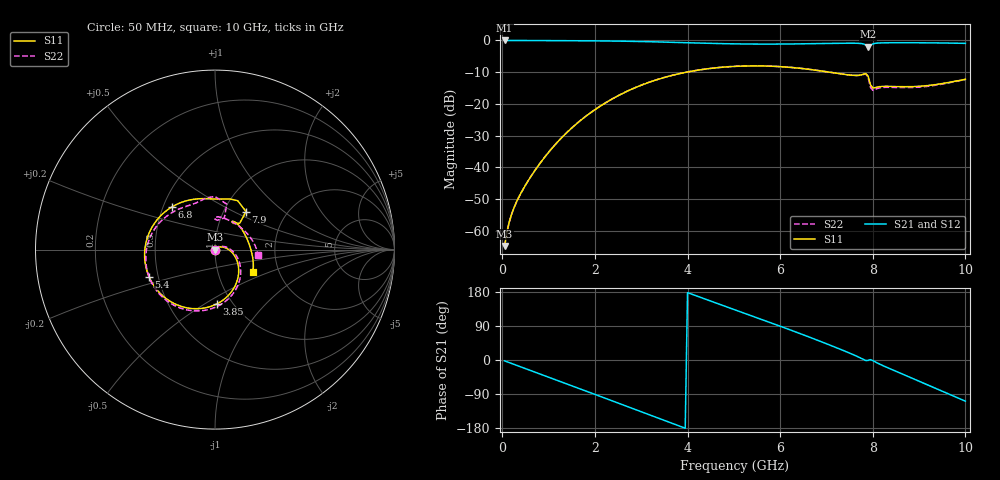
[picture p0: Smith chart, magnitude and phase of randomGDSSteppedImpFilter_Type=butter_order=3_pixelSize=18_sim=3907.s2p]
! freq	dB(S11)	phase(S11)	dB(S12)	phase(S12)
!  dB(S21)	phase(S21)	dB(S22)	phase(S22)
!S-par simulation data
#  GHz  S  DB  R 50
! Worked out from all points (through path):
!   200 points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, 50 MHz to 10 GHz, reference 50 ohm
!   highest |S21| = -0.01 dB at 50 MHz (marker M1); lowest = -1.9 dB at 7.9 GHz (marker M2)
!   group delay of S21, straight-line fit = 128 ps
!   lowest |S11| = -64.7 dB at 50 MHz (marker M3), VSWR 1.00, Z = 50 + j0.0472 ohm
!   |S11| at or under -10 dB: start of sweep to 3.975 GHz; 7.064 GHz to end of sweep
!   |S22| runs from -64.8 to -8.0 dB; largest |S21 - S12| = 0
!   S11 on the Smith chart (normalised r, x): 50 MHz: 1.00, +0.00; 3.85 GHz: 0.85, -0.56; 5.4 GHz: 0.44, -0.16; 6.8 GHz: 0.56, +0.30; 7.9 GHz: 1.27, +0.58; 10 GHz: 1.48, -0.38
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0.05  -64.73 54.4  -0.01 -2.3  -0.01 -2.3  -64.77 54.8
0.2  -54.74 68.8  -0.02 -9.1  -0.02 -9.1  -54.79 71.2
0.55  -44.38 61.1  -0.03 -24.9  -0.03 -24.9  -44.36 66.3
1.1  -33.50 39.0  -0.06 -49.7  -0.06 -49.7  -33.45 45.1
1.75  -24.49 9.0  -0.10 -79.3  -0.10 -79.3  -24.45 14.6
2.5  -17.42 -25.8  -0.21 -113.7  -0.21 -113.7  -17.39 -20.5
3.4  -12.08 -67.5  -0.48 -155.0  -0.48 -155.0  -12.06 -62.1
3.85  -10.38 -88.1  -0.66 -175.5  -0.66 -175.5  -10.36 -82.3
4.4  -8.99 -112.9  -0.89 159.9  -0.89 159.9  -8.97 -106.5
5.05  -8.15 -142.1  -1.09 131.3  -1.09 131.3  -8.13 -134.3
5.4  -8.01 -157.8  -1.15 115.9  -1.15 115.9  -7.99 -149.1
6.05  -8.30 172.1  -1.14 87.0  -1.14 87.0  -8.28 -176.5
6.7  -9.24 140.1  -1.02 57.2  -1.02 57.2  -9.22 155.5
6.8  -9.44 135.0  -1.00 52.5  -1.00 52.5  -9.42 151.1
7.55  -10.96 93.6  -0.86 15.6  -0.86 15.6  -10.98 117.1
7.75  -10.85 79.6  -0.97 4.4  -0.97 4.4  -10.89 104.8
7.9  -11.27 50.8  -1.92 -1.0  -1.92 -1.0  -11.64 75.4
8  -14.97 54.9  -1.10 -1.6  -1.10 -1.6  -15.70 85.1
8.35  -14.46 47.7  -0.73 -21.9  -0.73 -21.9  -14.75 82.0
9.2  -14.18 5.1  -0.75 -66.3  -0.75 -66.3  -14.41 38.5
9.6  -13.33 -12.7  -0.82 -87.4  -0.82 -87.4  -13.47 15.8
10  -12.24 -30.0  -0.92 -108.6  -0.92 -108.6  -12.30 -7.4
